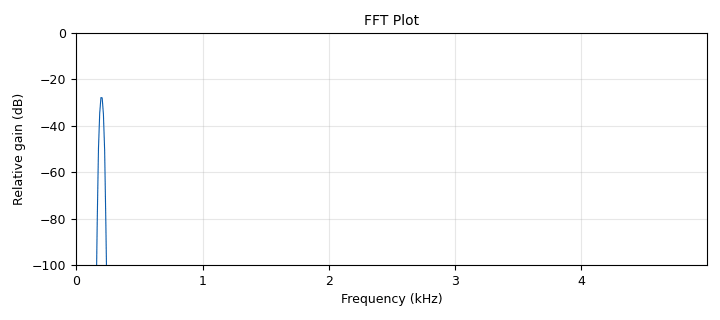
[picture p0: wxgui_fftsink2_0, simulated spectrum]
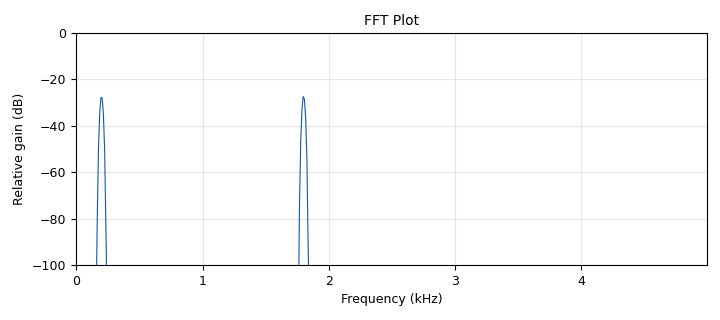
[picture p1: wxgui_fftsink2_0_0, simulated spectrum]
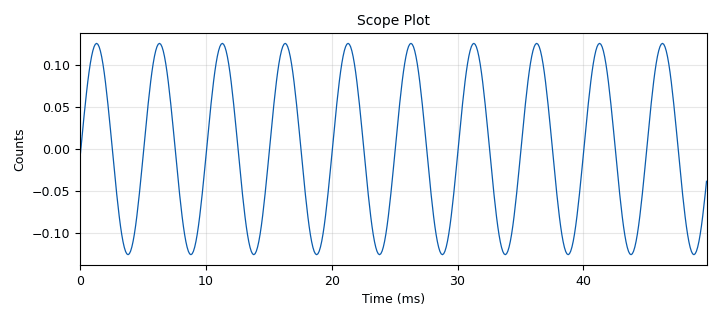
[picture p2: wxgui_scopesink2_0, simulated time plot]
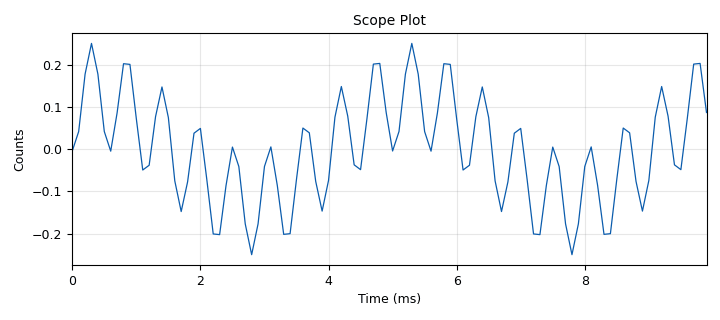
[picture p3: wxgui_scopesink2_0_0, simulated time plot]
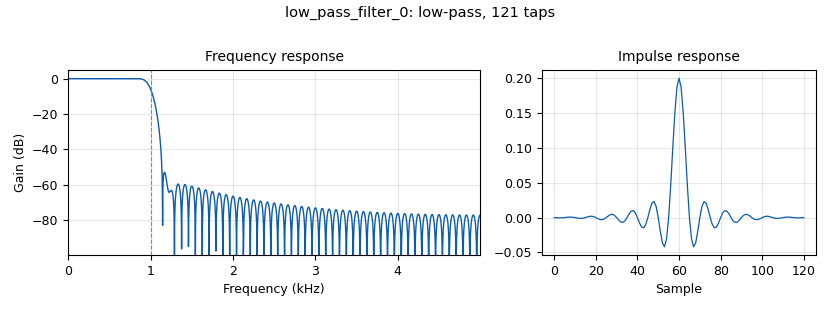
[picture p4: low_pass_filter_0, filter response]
<?xml version='1.0' encoding='utf-8'?>
<?grc format='1' created='3.7.10'?>
<flow_graph>
<block>
<key>options</key>
<param><key>id</key><value>lpf</value></param>
<param><key>author</key><value>Alexandros-Apostolos A. Boulogeorgos</value></param>
<param><key>generate_options</key><value>wx_gui</value></param>
<param><key>title</key><value>low_pass_filter</value></param>
</block>
<block>
<key>variable</key>
<param><key>id</key><value>amp0</value></param>
<param><key>value</key><value>0.5</value></param>
</block>
<block>
<key>variable</key>
<param><key>id</key><value>amp1</value></param>
<param><key>value</key><value>0.5</value></param>
</block>
<block>
<key>variable</key>
<param><key>id</key><value>f0</value></param>
<param><key>value</key><value>1000</value></param>
</block>
<block>
<key>variable</key>
<param><key>id</key><value>f1</value></param>
<param><key>value</key><value>800</value></param>
</block>
<block>
<key>variable</key>
<param><key>id</key><value>samp_rate</value></param>
<param><key>value</key><value>10000</value></param>
</block>
<block>
<key>analog_sig_source_x</key>
<param><key>id</key><value>analog_sig_source_x_0</value></param>
<param><key>amp</key><value>amp0</value></param>
<param><key>freq</key><value>f0</value></param>
<param><key>offset</key><value>0</value></param>
<param><key>type</key><value>float</value></param>
<param><key>samp_rate</key><value>samp_rate</value></param>
<param><key>waveform</key><value>analog.GR_COS_WAVE</value></param>
</block>
<block>
<key>analog_sig_source_x</key>
<param><key>id</key><value>analog_sig_source_x_0_0</value></param>
<param><key>amp</key><value>amp1</value></param>
<param><key>freq</key><value>f1</value></param>
<param><key>offset</key><value>0</value></param>
<param><key>type</key><value>float</value></param>
<param><key>samp_rate</key><value>samp_rate</value></param>
<param><key>waveform</key><value>analog.GR_COS_WAVE</value></param>
</block>
<block>
<key>blocks_multiply_xx</key>
<param><key>id</key><value>blocks_multiply_xx_0</value></param>
<param><key>type</key><value>float</value></param>
</block>
<block>
<key>blocks_throttle</key>
<param><key>id</key><value>blocks_throttle_0</value></param>
<param><key>samples_per_second</key><value>samp_rate</value></param>
<param><key>type</key><value>float</value></param>
</block>
<block>
<key>blocks_throttle</key>
<param><key>id</key><value>blocks_throttle_0_0</value></param>
<param><key>samples_per_second</key><value>samp_rate</value></param>
<param><key>type</key><value>float</value></param>
</block>
<block>
<key>low_pass_filter</key>
<param><key>id</key><value>low_pass_filter_0</value></param>
<param><key>cutoff_freq</key><value>1000</value></param>
<param><key>decim</key><value>1</value></param>
<param><key>type</key><value>fir_filter_fff</value></param>
<param><key>gain</key><value>1</value></param>
<param><key>samp_rate</key><value>samp_rate</value></param>
<param><key>width</key><value>200</value></param>
<param><key>win</key><value>firdes.WIN_HAMMING</value></param>
</block>
<block>
<key>notebook</key>
<param><key>id</key><value>nbook</value></param>
<param><key>labels</key><value>['tab1', 'tab2']</value></param>
<param><key>style</key><value>wx.NB_TOP</value></param>
</block>
<block>
<key>wxgui_fftsink2</key>
<param><key>id</key><value>wxgui_fftsink2_0</value></param>
<param><key>avg_alpha</key><value>0</value></param>
<param><key>average</key><value>False</value></param>
<param><key>baseband_freq</key><value>0</value></param>
<param><key>fft_size</key><value>1024</value></param>
<param><key>freqvar</key><value>None</value></param>
<param><key>notebook</key><value>nbook,1</value></param>
<param><key>peak_hold</key><value>False</value></param>
<param><key>ref_level</key><value>0</value></param>
<param><key>ref_scale</key><value>2.0</value></param>
<param><key>fft_rate</key><value>15</value></param>
<param><key>samp_rate</key><value>samp_rate</value></param>
<param><key>title</key><value>FFT Plot</value></param>
<param><key>type</key><value>float</value></param>
<param><key>win</key><value>None</value></param>
<param><key>y_divs</key><value>10</value></param>
<param><key>y_per_div</key><value>10</value></param>
</block>
<block>
<key>wxgui_fftsink2</key>
<param><key>id</key><value>wxgui_fftsink2_0_0</value></param>
<param><key>avg_alpha</key><value>0</value></param>
<param><key>average</key><value>False</value></param>
<param><key>baseband_freq</key><value>0</value></param>
<param><key>fft_size</key><value>1024</value></param>
<param><key>freqvar</key><value>None</value></param>
<param><key>notebook</key><value>nbook,0</value></param>
<param><key>peak_hold</key><value>False</value></param>
<param><key>ref_level</key><value>0</value></param>
<param><key>ref_scale</key><value>2.0</value></param>
<param><key>fft_rate</key><value>15</value></param>
<param><key>samp_rate</key><value>samp_rate</value></param>
<param><key>title</key><value>FFT Plot</value></param>
<param><key>type</key><value>float</value></param>
<param><key>win</key><value>None</value></param>
<param><key>y_divs</key><value>10</value></param>
<param><key>y_per_div</key><value>10</value></param>
</block>
<block>
<key>wxgui_scopesink2</key>
<param><key>id</key><value>wxgui_scopesink2_0</value></param>
<param><key>ac_couple</key><value>False</value></param>
<param><key>notebook</key><value>nbook,1</value></param>
<param><key>num_inputs</key><value>1</value></param>
<param><key>samp_rate</key><value>samp_rate</value></param>
<param><key>t_scale</key><value>0</value></param>
<param><key>title</key><value>Scope Plot</value></param>
<param><key>trig_mode</key><value>wxgui.TRIG_MODE_AUTO</value></param>
<param><key>type</key><value>float</value></param>
<param><key>v_offset</key><value>0</value></param>
<param><key>v_scale</key><value>0</value></param>
<param><key>xy_mode</key><value>False</value></param>
<param><key>y_axis_label</key><value>Counts</value></param>
</block>
<block>
<key>wxgui_scopesink2</key>
<param><key>id</key><value>wxgui_scopesink2_0_0</value></param>
<param><key>ac_couple</key><value>False</value></param>
<param><key>notebook</key><value>nbook,0</value></param>
<param><key>num_inputs</key><value>1</value></param>
<param><key>samp_rate</key><value>samp_rate</value></param>
<param><key>t_scale</key><value>0</value></param>
<param><key>title</key><value>Scope Plot</value></param>
<param><key>trig_mode</key><value>wxgui.TRIG_MODE_AUTO</value></param>
<param><key>type</key><value>float</value></param>
<param><key>v_offset</key><value>0</value></param>
<param><key>v_scale</key><value>0</value></param>
<param><key>xy_mode</key><value>False</value></param>
<param><key>y_axis_label</key><value>Counts</value></param>
</block>
<connection><source_block_id>analog_sig_source_x_0</source_block_id><sink_block_id>blocks_multiply_xx_0</sink_block_id><source_key>0</source_key><sink_key>0</sink_key></connection>
<connection><source_block_id>analog_sig_source_x_0_0</source_block_id><sink_block_id>blocks_multiply_xx_0</sink_block_id><source_key>0</source_key><sink_key>1</sink_key></connection>
<connection><source_block_id>blocks_multiply_xx_0</source_block_id><sink_block_id>blocks_throttle_0_0</sink_block_id><source_key>0</source_key><sink_key>0</sink_key></connection>
<connection><source_block_id>blocks_multiply_xx_0</source_block_id><sink_block_id>low_pass_filter_0</sink_block_id><source_key>0</source_key><sink_key>0</sink_key></connection>
<connection><source_block_id>blocks_throttle_0</source_block_id><sink_block_id>wxgui_fftsink2_0</sink_block_id><source_key>0</source_key><sink_key>0</sink_key></connection>
<connection><source_block_id>blocks_throttle_0</source_block_id><sink_block_id>wxgui_scopesink2_0</sink_block_id><source_key>0</source_key><sink_key>0</sink_key></connection>
<connection><source_block_id>blocks_throttle_0_0</source_block_id><sink_block_id>wxgui_fftsink2_0_0</sink_block_id><source_key>0</source_key><sink_key>0</sink_key></connection>
<connection><source_block_id>blocks_throttle_0_0</source_block_id><sink_block_id>wxgui_scopesink2_0_0</sink_block_id><source_key>0</source_key><sink_key>0</sink_key></connection>
<connection><source_block_id>low_pass_filter_0</source_block_id><sink_block_id>blocks_throttle_0</sink_block_id><source_key>0</source_key><sink_key>0</sink_key></connection>
</flow_graph>
